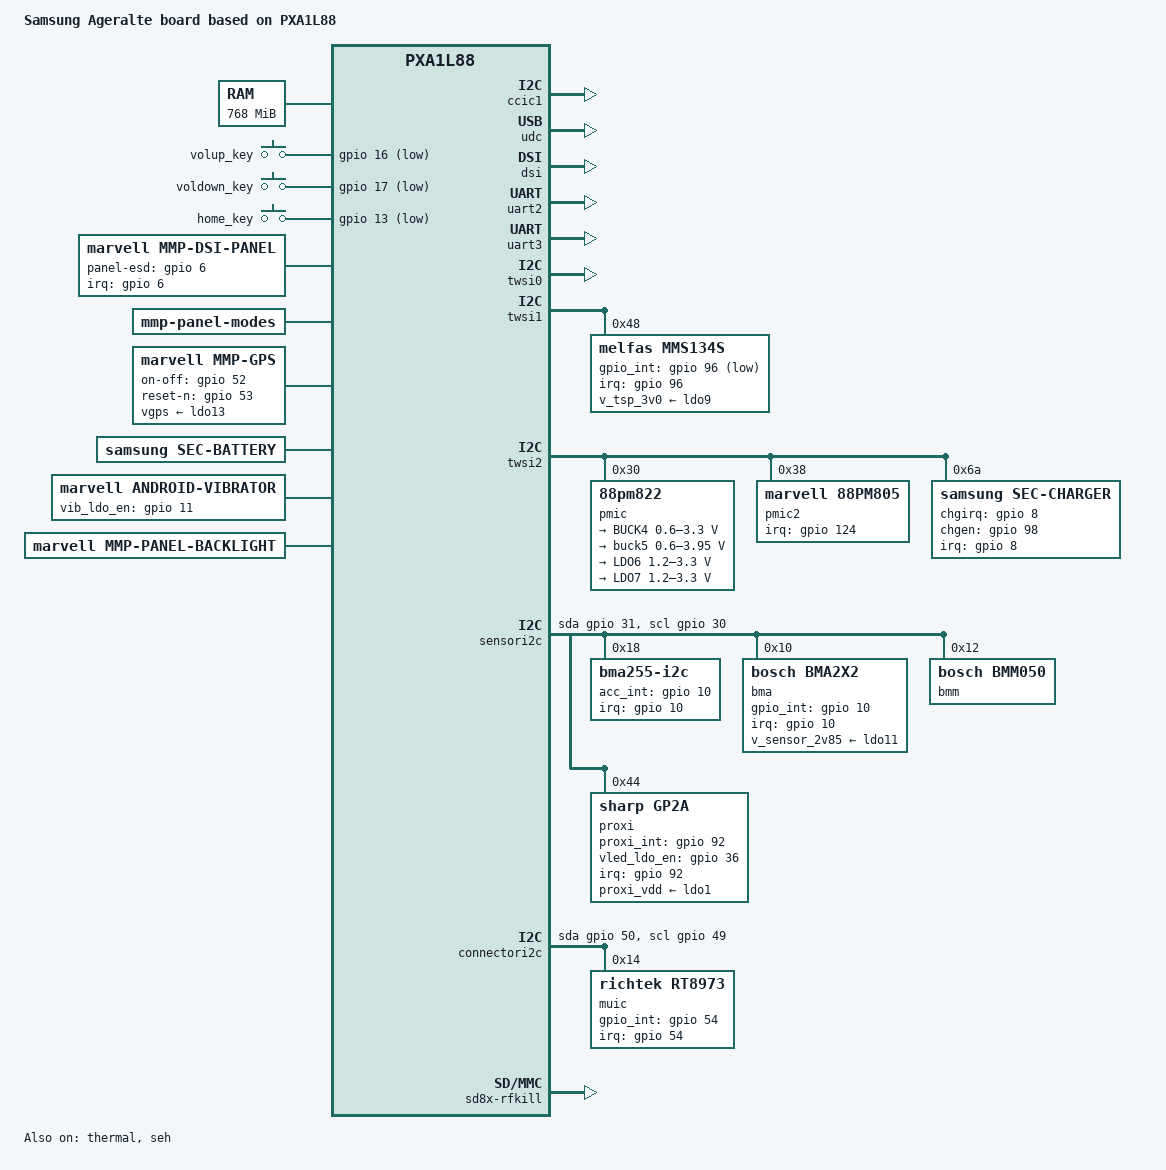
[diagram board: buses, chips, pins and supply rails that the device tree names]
/* arch/arm/boot/dts/pxall88-ageralte-r03.dts
 * Copyright (C) 2014 Samsung Electronics Co, Ltd.
 *
 * Based on arch/arm/boot/dts/pxa1l88-moutailte-r02.dts
 * Author: Shankar Bandal <shankar.b@samsung.com>
 *
 * This software is licensed under the terms of the GNU General Public
 * License version 2, as published by the Free Software Foundation,
 * and may be copied, distributed, and modified under those terms.
 *
 * This program is distributed in the hope that it will be useful,
 * but WITHOUT ANY WARRANTY; without even the implied warranty of
 * MERCHANTABILITY or FITNESS FOR A PARTICULAR PURPOSE. See the
 * GNU General Public License for more details.
 */

/dts-v1/;
#include <dt-bindings/gpio/gpio.h>
#include <dt-bindings/interrupt-controller/irq.h>
#include <dt-bindings/mmc/pxa_sdhci.h>
#include <dt-bindings/linux/sizes.h>
#include <dt-bindings/video/mmp_disp.h>

#include "sec-machtypes.h"
#include "sec-pxa1x88-pinfunc.h"
#include "pxa1088.dtsi"

/ {
	model = "Samsung Ageralte board based on PXA1L88";
	compatible = "mrvl,pxa1L88-sec", "mrvl,pxa1L88";
	pxa,rev-id = <MACH_TYPE_AGERALTE 3>;

	aliases {
		i2c5 = &sensori2c;
		i2c7 = &connectori2c;
	};

	memory {
		/* Memory Banks
		 * Bank 1 : Base 0x00000000
		 *	    Size 512 MB
		 * Bank 2 : Base 0x20000000
		 *	    Size 256 MB
		 */
		reg = <0x00000000 0x20000000 0x20000000 0x10000000>;
	};

	reserved_memory {

		obm {
			compatible = "marvell,obm-heap";
			obm-base-default = <0x00000000>;
			obm-base-with-tz = <0x01000000>;
			obm-base-with-crash-dump = <0x06000000>;
			obm-size = <(SZ_1M)>;
			status = "okay";
		};

		cp {
			compatible = "marvell,cp-heap";
			cp-base = <0x05000000>;
			cp-size = <(48 * SZ_1M)>;
			status = "okay";
		};

		/* ramoops buffer (256KB) */
		ramoops {
			compatible = "marvell,ramoops-heap";
			ramoops-base = <0x08100000>;
			ramoops-size = <(256 * SZ_1K)>;
			status = "okay";
		};

		gpu {
			compatible = "marvell,gpu-heap";
			gpu-size = <(32 * SZ_1M)>;
			status = "okay";
		};

		ion {
			compatible = "marvell,ion-heap";
			ion-base = <0x09000000>;
			ion-size = <(16 * SZ_1M)>;
			status = "okay";
		};

		cma {
			compatible = "linux,cma-heap";
			size = <(80 * SZ_1M)>;
			status = "okay";
		};
	};

	gpio-keys {
		compatible = "gpio-keys";
		pinctrl-names = "default", "sleep";
		pinctrl-0 = <&volumekeys_gpio_pmx &homekey_gpio_pmx>;
		pinctrl-1 = <&gpio_keypad_func1>;
		status = "okay";

		volume-up {
			label = "volup_key";
			gpios = <&gpio 16 GPIO_ACTIVE_LOW>;
			linux,code = <115>;	/* KEY_VOLUMEUP */
			debounce-interval = <30>;
		};

		volume-down {
			label = "voldown_key";
			gpios = <&gpio 17 GPIO_ACTIVE_LOW>;
			linux,code = <114>;	/* KEY_VOLUMEUP */
			debounce-interval = <30>;
		};

		home-key {
			label = "home_key";
			gpios = <&gpio 13 GPIO_ACTIVE_LOW>;
			linux,code = <102>;	/* KEY_HOME */
			debounce-interval = <30>;
			gpio-key,wakeup;
		};
	};

	soc {
		ddr@c0100000 {  /* DDR memory controller */
			status = "okay";
		};

		axi@d4200000 {	/* AXI */
			coda7542: coda7542@d420d000 {
				marvell,sram-internal = <1>;
				marvell,nv21_support = <1>;
				status = "okay";
			};
			ccic1: ccic@d420a000 {
				cam_core-supply = <&buck5>;
				cam_avdd = <&gpio 72 0>;
				cam_io = <&gpio 73 0>;
				cam_af = <&gpio 19 0>;
				cam_stby = <&gpio 14 0>;
				cam_rst = <&gpio 15 0>;
			       pinctrl-names = "default","enable";
				pinctrl-0 = <&cam_pmx_func1 &cam_pmx_func2 &cam_pmx_gpio>;
				pinctrl-1 = <&cam_pmx_func1 &cam_pmx_func2 &cam_pmx_func3>;
			       mclk-gpio = <&gpio 77 0>;
				status = "okay";
			};
			usbphy: usbphy@d4207000 {
				status = "okay";
			};

			udc: udc@d4208100 {
				status = "okay";
			};

			dsi: dsi@d420b800 {
				marvell,phy-name = "mmp_dsi1";
				marvell,plat-path-name = "mmp_pnpath";
				marvell,dsi-lanes = <2>;
				marvell,burst-mode = <2>;
				marvell,hbp-en;
				marvell,hfp-en;
				status = "okay";
			};

			disp: disp@d420b000 {
				marvell,disp-name = "disp_name";
				marvell,path-num = <1>;
				status = "okay";
				path1 {
					marvell,path-name = "mmp_pnpath";
					marvell,overlay-num = <1>;
					marvell,overlay-table = <PN_GRA>;
					marvell,output-type = <1>;
					marvell,path-config = <0x10>;
					marvell,link-config = <0x1>;
					WVGA {
						disp1_clksrc = "pll1_416m";
						dsipll_clksrc = "pll3";
						pn_sclk_clksrc = "disp1";
					};

				};
			};

			fb0: fbbase {
				marvell,fb-name = "mmp-fb";
				marvell,path-name = "mmp_pnpath";
				marvell,overlay-id = <PN_GRA>;
				marvell,default-pixfmt = <PIXFMT_RGBA888>;
				marvell,buffer-num = <3>;
				marvell,fb-mem = <0xb000000>;
				status = "okay";
			};

			/* eMMC */
			sdh3: sdh@d4281000 {
				pinctrl-names = "default";
				pinctrl-0 = <&sdh3_pmx_func1 &sdh3_pmx_func2>;
				bus-width = <8>;
				non-removable;
				marvell,sdh-pm-runtime-en;
				marvell,sdh-quirks = <(
						SDHCI_QUIRK_BROKEN_ADMA |
						SDHCI_QUIRK_BROKEN_CARD_DETECTION
						)>;
				marvell,sdh-quirks2 = <(SDHCI_QUIRK2_BUS_CLK_GATE_ENABLED)>;
				marvell,sdh-host-caps = <(MMC_CAP_1_8V_DDR)>;
				marvell,sdh-flags = <(
						PXA_FLAG_SD_8_BIT_CAPABLE_SLOT |
						PXA_FLAG_ENABLE_CLOCK_GATING |
						PXA_FLAG_TX_SEL_BUS_CLK
					      )>;
				/* prop "sdh-dtr-data": <timing preset_rate src_rate tx_delay rx_delay> */
				marvell,sdh-dtr-data = <PXA_MMC_TIMING_LEGACY PXA_SDH_DTR_26M PXA_SDH_DTR_104M 0 0>,
						<PXA_MMC_TIMING_MMC_HS PXA_SDH_DTR_52M PXA_SDH_DTR_104M 0 0>,
						<PXA_MMC_TIMING_UHS_DDR50 PXA_SDH_DTR_52M PXA_SDH_DTR_104M 0 0>,
						<PXA_MMC_TIMING_MAX PXA_SDH_DTR_PS_NONE PXA_SDH_DTR_104M 0 0>;
				status = "okay";
			};

			/* SD card */
			sdh1: sdh@d4280000 {
				pinctrl-names = "default";
				pinctrl-0 = <&sdh1_pmx_func1 &sdh1_pmx_func2 &sdh1_pmx_func3 &sdh1_pmx_func4 &sdh1_pmx_func5 &sdh1_pmx_func6>;
				vqmmc-supply	= <&ldo5>;
				vmmc-supply	= <&ldo4>;
				cd-gpios = <&gpio 90 0>;
				cd-inverted;
				bus-width = <4>;
				wp-inverted;
				marvell,sdh-pm-runtime-en;
				marvell,sdh-quirks = <(
						SDHCI_QUIRK_INVERTED_WRITE_PROTECT |
						SDHCI_QUIRK_BROKEN_CARD_DETECTION
						)>;
				marvell,sdh-quirks2 = <(SDHCI_QUIRK2_BUS_CLK_GATE_ENABLED)>;
				marvell,sdh-host-caps2 = <(MMC_CAP2_DETECT_ON_ERR)>;
				marvell,sdh-flags = <(
						PXA_FLAG_TX_SEL_BUS_CLK |
						PXA_FLAG_ENABLE_CLOCK_GATING
					      )>;
				/* prop "sdh-dtr-data": <timing preset_rate src_rate tx_delay rx_delay> */
				marvell,sdh-dtr-data = <PXA_MMC_TIMING_LEGACY PXA_SDH_DTR_26M PXA_SDH_DTR_104M 0 0>,
						<PXA_MMC_TIMING_SD_HS PXA_SDH_DTR_52M PXA_SDH_DTR_104M 0 0>,
						<PXA_MMC_TIMING_UHS_DDR50 PXA_SDH_DTR_52M PXA_SDH_DTR_104M 0 0>,
						<PXA_MMC_TIMING_MAX PXA_SDH_DTR_PS_NONE PXA_SDH_DTR_104M 0 0>;
				status = "okay";
			};

			/* SDIO */
			sdh2: sdh@d4280800 {
				pinctrl-names = "default", "fast", "sleep";
				pinctrl-0 = <&sdh2_pmx_func1 &sdh2_pmx_func3 &sdh2_pmx_func5>;
				pinctrl-1 = <&sdh2_pmx_func1_fast &sdh2_pmx_func2_fast &sdh2_pmx_func3 &sdh2_pmx_func5>;
				pinctrl-2 = <&sdh2_pmx_edge_wakeup>;
				bus-width = <4>;
				mrvl,clk-delay-cycles = <0x0>;
				marvell,sdh-quirks = <(
						SDHCI_QUIRK_BROKEN_CARD_DETECTION
						)>;
				marvell,sdh-quirks2 = <(
				        SDHCI_QUIRK2_BUS_CLK_GATE_ENABLED |
				        SDHCI_QUIRK2_SDIO_SW_CLK_GATE |
				        SDHCI_QUIRK2_HOLDSUSPEND_AFTER_REQUEST
				        )>;
				marvell,sdh-host-caps2 = <(MMC_CAP2_NO_VOLTAGE_SWITCH)>;
				marvell,sdh-flags = <(
						PXA_FLAG_WAKEUP_HOST |
						PXA_FLAG_ENABLE_CLOCK_GATING |
						PXA_FLAG_TX_SEL_BUS_CLK |
						PXA_FLAG_EN_PM_RUNTIME |
						PXA_FLAG_DISABLE_PROBE_CDSCAN
					    )>;
				marvell,sdh-pm-caps = <(
			            MMC_PM_KEEP_POWER
			            )>;
				/* prop "sdh-dtr-data": <timing preset_rate src_rate tx_delay rx_delay> */
				marvell,sdh-dtr-data = <PXA_MMC_TIMING_LEGACY PXA_SDH_DTR_26M PXA_SDH_DTR_104M 0 0>,
						<PXA_MMC_TIMING_SD_HS PXA_SDH_DTR_45M PXA_SDH_DTR_89M 0 0>,
						<PXA_MMC_TIMING_UHS_SDR104 PXA_SDH_DTR_208M PXA_SDH_DTR_208M 0 0>,
						<PXA_MMC_TIMING_MAX PXA_SDH_DTR_PS_NONE PXA_SDH_DTR_89M 0 0>;
				status = "okay";
			};

			squ: squ@d42a0800 {
				compatible = "marvell,pxa910-squ";
				reg = <0xd42a0800 0x100>;
				interrupts = <0 46 0x4>;
				#dma-cells = <1>;
				asram = <&sram>;
			};

			vpu-devfreq {
				status = "okay";
			};
			geu: geu {
				status = "okay";
			};
		};

		apb@d4000000 {
			pdma0: pdma@d4000000 {
				status = "okay";
			};

			uart2: uart@d4017000 {
				pinctrl-names = "default", "sleep";
				pinctrl-0 = <&uart2_pmx_func1 &uart2_pmx_func2>;
				pinctrl-1 = <&uart2_pmx_func1_sleep &uart2_pmx_func2>;
				edge-wakeup-gpio = <47>; /* GPIO47: UART rx pin */
				status = "okay";
			};

			uart3: uart@d4018000 {
				pinctrl-names = "default";
				pinctrl-0 = <&uart3_pmx_func>;
				status = "okay";
			};

			mfpr: mfpr@d401e000 {
				pinctrl-names = "default";
				reg = <0xd401e000 0x280>;
				// pinctrl-0 = <&mfp_pins_group_0 &mfp_pins_group_1 &mfp_pins_group_2 &mfp_pins_group_3 &mfp_pins_group_4 &mfp_pins_group_5 &mfp_pins_group_6 &mfp_pins_group_7>;
				pinctrl-0 = <&mfp_pins_group_0>;
				status = "ok";
			};

			edgewakeup: edgewakeup@d4019800 {
				status = "ok";
			};

			rtc: rtc@d4010000 {
				status = "okay";
			};

			thermal: thermal@d4013200 {
				compatible = "marvell,pxa-thermal";
				reg = <0xd4013200 0x50>;
				interrupts = <0 60 0x4>;
				trigger_levels_count = <4>;
				type = <2>;
				status = "ok";
			};

			watchdog: watchdog@d4080000 {
				status = "okay";
			};

			ssp_dai1: pxa-ssp-dai@1 {
				compatible = "mrvl,pxa-ssp-dai";
				reg = <0x1 0x0>;
				port = <&ssp1>;
				pinctrl-names = "default","ssp";
				pinctrl-0 = <&i2s_gpio>;
				pinctrl-1 = <&i2s_func>;
				ssp-gpio = <&gpio 21 0 &gpio 22 0 &gpio 23 0 &gpio 24 0>;
				dmas = <&squ 1
					&squ 0>;
				dma-names = "rx", "tx";
				asram = <&sram>;
				platform_driver_name = "tdma_platform";
				burst_size = <4>;
				playback_period_bytes = <4096>;
				playback_buffer_bytes = <20480>;
				capture_period_bytes = <4096>;
				capture_buffer_bytes = <20480>;
			};

			ssp_dai4: pxa-ssp-dai@4 {
				compatible = "mrvl,pxa-ssp-dai";
				reg = <0x4 0x0>;
				port = <&ssp4>;
				pinctrl-names = "default","ssp";
				pinctrl-0 = <&gssp_gpio>;
				pinctrl-1 = <&gssp_func>;
				ssp-gpio = <&gpio 25 0 &gpio 26 0 &gpio 27 0 &gpio 28 0>;
				dmas = <&pdma0 6 0
					&pdma0 7 0>;
				dma-names = "rx", "tx";
				platform_driver_name = "pdma_platform";
				burst_size = <8>;
				playback_period_bytes = <4096>;
				playback_buffer_bytes = <131072>;
				capture_period_bytes = <4096>;
				capture_buffer_bytes = <131072>;
			};

			gpio: gpio@d4019000 {
				status = "okay";
				/*
				 * In theorical, some gpios could be routed to
				 * multiple pins. So define the gpio-ranges in
				 * board file, not silicon file.
				 */
				gcb0: gpio@d4019000 {
					/* gpio offset, pin offset, nr pins */
					gpio-ranges = <&pmx 0 55 32>;
				};
				gcb1: gpio@d4019004 {
					gpio-ranges = <&pmx 0 87 23>;
				};
				gcb2: gpio@d4019008 {
					gpio-ranges = <&pmx 3 110 29>;
				};
				gcb3: gpio@d4019100 {
					gpio-ranges = <&pmx 0 139 3  &pmx 28 52 1>;
				};
			};

			pmx: pinmux@d401e000 {
				/* pin base, nr pins & gpio function */
				pinctrl-single,gpio-range = <
					/*
					 * GPIO number is hardcoded for range at here.
					 * In gpio chip, GPIO number is not hardcoded for range.
					 * Since one gpio pin may be routed to multiple pins,
					 * define these gpio range in pxa910-dkb.dts not pxa910.dtsi.
					 */
					&range 55 55 0	/* GPIO0 ~ GPIO54 */
					&range 110 32 0 /* GPIO67 ~ GPIO98 */
					&range 52 1 0	/* GPIO124 */
				>;
				cam_pmx_func1: cam_pmx_func1 {
					pinctrl-single,pins = <
						GPIO14 AF0
						GPIO15 AF0
					>;
					DS_MEDIUM;PULL_DOWN;EDGE_NONE;LPM_DRIVE_LOW;
				};
				cam_pmx_func2: cam_pmx_func2 {
					pinctrl-single,pins = <
						GPIO19 AF0
						GPIO72 AF0
						GPIO73 AF0
					>;
					DS_MEDIUM;PULL_DOWN;EDGE_NONE;LPM_DRIVE_LOW;
				};
				cam_pmx_func3: cam_pmx_func3 {
					pinctrl-single,pins = <
						GPIO77 AF1
					>;
					DS_MEDIUM;PULL_DOWN;EDGE_NONE;LPM_DRIVE_LOW;
				};

				cam_pmx_gpio: cam_pmx_gpio {
                                       pinctrl-single,pins = <
						GPIO77 AF0
                                       >;
					DS_MEDIUM;PULL_DOWN;EDGE_NONE;LPM_DRIVE_LOW;
				};

				hw_rev_mod_2_pmx: hw_rev_mod_2_pmx {
					pinctrl-single,pins = <
						GPIO32 AF0
					>;
					MFP_PULL_FLOAT;
				};

				hw_rev_mod_2: hw_rev_mod_2 {
					pinctrl-names = "default";
					pinctrl-0 = <&hw_rev_mod_2_pmx>;
				};
				/* MFP_LPM_FLOAT */
				mfp_pins_group_0: mfp_pins_group_0 {
					pinctrl-single,pins = <
						DF_IO8 AF1
						DF_IO9 AF1
						DF_IO10 AF1
						DF_IO11 AF1
						DF_IO12 AF1
						DF_IO13 AF1
						DF_IO14 AF1
						DF_IO15 AF1
						DF_WEn AF0
						DF_REn AF0
						DF_ALE_SM_WEn AF0
						DF_RDY0 AF1
						DF_RDY1 AF0
						DF_nCS0_SM_nCS2 AF1
						DF_nCS1_SM_nCS3 AF1
						SM_nCS1 AF1
						SM_nCS0 AF1
						GPIO20 AF0
						GPIO93 AF0
						GPIO95 AF0
						GPIO97 AF0
					>;
					PULL_UP;LPM_FLOAT;
				};

				/* MFP_PULL_LOW && MFP_LPM_PULL_FLOAT */
				mfp_pins_group_1: mfp_pins_group_1 {
					pinctrl-single,pins = <
						GPIO15 AF0
						GPIO72 AF0
					>;
					DS_MEDIUM;PULL_DOWN;EDGE_NONE;LPM_FLOAT;
				};

				/* MFP_PULL_LOW && LPM_OUTPUT_DRIVE_LOW */
				mfp_pins_group_2: mfp_pins_group_2 {
					pinctrl-single,pins = <
						GPIO18 AF0
					>;
					DS_MEDIUM;PULL_DOWN;EDGE_NONE;LPM_DRIVE_LOW;
				};

				/* MFP_PULL_LOW */
				mfp_pins_group_3: mfp_pins_group_3 {
					pinctrl-single,pins = <
						GPIO70 AF0
						GPIO36 AF0
						GPIO43 AF0
						GPIO44 AF0
						GPIO49 AF0
						GPIO50 AF0
						GPIO90 AF0
						GPIO92 AF0
						GPIO98 AF0
					>;
					MFP_PULL_DOWN;
				};

				/* MFP_PULL_HIGH */
				mfp_pins_group_4: mfp_pins_group_4 {
					pinctrl-single,pins = <
						SM_RDY_GPIO_3 AF1
						GPIO14 AF0
						GPIO91 AF0
					>;
					MFP_PULL_UP;
				};

				/* MFP_PULL_FLOAT */
				mfp_pins_group_5: mfp_pins_group_5 {
					pinctrl-single,pins = <
						GPIO4 AF0
						GPIO96 AF0
						GPIO67 AF0
						GPIO68 AF0
						GPIO69 AF0
						GPIO80 AF0
					>;
					MFP_PULL_FLOAT;
				};

				/* MFP_PULL_FLOAT && MFP_LPM_PULL_FLOAT */
				mfp_pins_group_6: mfp_pins_group_6 {
					pinctrl-single,pins = <
						GPIO32 AF0
						SM_ADVMUX AF1
						/* LED_R_CTRL */
						SM_BE1 AF0
						/* LED_G_CTRL */
						GPIO12 AF0
					>;
					DS_MEDIUM;PULL_FLOAT;EDGE_NONE;LPM_FLOAT;
				};

				/* MFP_DEFAULT */
				mfp_pins_group_7: mfp_pins_group_7 {
					pinctrl-single,pins = <
						GPIO124 AF0
						GPIO3 AF0
						GPIO5 AF0
						GPIO6 AF0
						GPIO11 AF0
						GPIO13 AF0
						GPIO19 AF0
						GPIO10 AF0
						GPIO29 AF0
						GPIO30 AF0
						GPIO31 AF0
						GPIO33 AF0
						GPIO34 AF0
						GPIO35 AF0
						GPIO51 AF1
						GPIO52 AF1
						GPIO73 AF0
						GPIO74 AF0
						GPIO76 AF0
						GPIO78 AF0
					>;
					MFP_DEFAULT;
				};

				/* MFP_PULL_LOW | MFP_LPM_FLOAT */
				sdh1_pmx_func1: sdh1_pmx_func1 {
					pinctrl-single,pins = <
						MMC1_DAT7 AF0
						MMC1_DAT6 AF0
						MMC1_DAT5 AF0
						MMC1_DAT4 AF0
						MMC1_WP AF0
					>;
					DS_MEDIUM;PULL_DOWN;EDGE_NONE;LPM_FLOAT;
				};

				/* no pull, no LPM */
				sdh1_pmx_func2: sdh1_pmx_func2 {
					pinctrl-single,pins = <
						MMC1_DAT3 AF0
						MMC1_DAT2 AF0
						MMC1_DAT1 AF0
						MMC1_DAT0 AF0
					>;
					MFP_DEFAULT;
				};

				/* MFP_LPM_DRIVE_LOW */
				sdh1_pmx_func3: sdh1_pmx_func3 {
					pinctrl-single,pins = <
						MMC1_CLK AF0
					>;
					MFP_LPM_DRIVE_LOW;
				};

				/* MFP_PULL_HIGH */
				sdh1_pmx_func4: sdh1_pmx_func4 {
					pinctrl-single,pins = <
						MMC1_CD AF0
					>;
					DS_MEDIUM;PULL_UP;EDGE_NONE;LPM_NONE;
				};

				/* MFP_PULL_UP */
				sdh1_pmx_func5: sdh1_pmx_func5 {
					pinctrl-single,pins = <
						MMC1_CMD AF0
					>;
					PULL_UP;LPM_FLOAT;
				};

				/* SD_DETECT */
				sdh1_pmx_func6: sdh1_pmx_func6 {
					pinctrl-single,pins = <
						GPIO90 AF0
					>;
					MFP_LPM_FLOAT;
				};

				sdh2_pmx_func1_fast: sdh2_pmx_func1_fast {
					pinctrl-single,pins = <
						GPIO37 AF1
						GPIO38 AF1
						GPIO39 AF1
						GPIO40 AF1
						GPIO41 AF1
					>;
					DS_FAST;PULL_NONE;EDGE_NONE;LPM_NONE;
				};

				sdh2_pmx_func2_fast: sdh2_pmx_func2_fast {
					pinctrl-single,pins = <
							GPIO42 AF1
					>;
						DS_FAST;PULL_NONE;EDGE_NONE;LPM_DRIVE_LOW;
				};

				sdh2_pmx_func1: sdh2_pmx_func1 {
					pinctrl-single,pins = <
						GPIO37 AF1
						GPIO38 AF1
						GPIO39 AF1
						GPIO40 AF1
						GPIO41 AF1
					>;
					MFP_DEFAULT;
				};
				/* WLAN_PDn */
				sdh2_pmx_func3: sdh2_pmx_func3 {
					pinctrl-single,pins = <
						GPIO51 AF0
					>;
					DS_MEDIUM;PULL_FLOAT;EDGE_NONE;
				};
				/* WLAN_SD_CLK */
				sdh2_pmx_func5: sdh2_pmx_func5 {
					pinctrl-single,pins = <
						GPIO42 AF1
					>;
					DS_MEDIUM;PULL_NONE;EDGE_NONE;LPM_DRIVE_LOW;
				};

				sdh2_pmx_edge_wakeup: sdh2_pmx_edge_wakeup {
						pinctrl-single,pins = <
							GPIO39 AF1
						>;
						DS_MEDIUM;PULL_LOW;EDGE_BOTH;LPM_NONE;
				};

				/* no pull, no LPM */
				sdh3_pmx_func1: sdh3_pmx_func1 {
					pinctrl-single,pins = <
						ND_IO7 AF1
						ND_IO6 AF1
						ND_IO5 AF1
						ND_IO4 AF1
						ND_IO3 AF1
						ND_IO2 AF1
						ND_IO1 AF1
						ND_IO0 AF1
						ND_CLE_SM_OEN AF1
						SM_BEN0 AF2
					>;
					MFP_PULL_UP;
				};

				/* MFP_LPM_DRIVE_LOW */
				sdh3_pmx_func2: sdh3_pmx_func2 {
					pinctrl-single,pins = <
						SM_SCLK AF1
					>;
					MFP_LPM_DRIVE_LOW;
				};

				lcd_pmx: lcd_pmx {
					pinctrl-single,pins = <
						GPIO18 AF0
						>;
					DS_MEDIUM;PULL_UP;EDGE_NONE;LPM_DRIVE_HIGH;
				};

				lcd_esd_pmx: lcd_esd_pmx {
					pinctrl-single,pins = <
						GPIO6 AF0
					>;
					DS_MEDIUM;PULL_NONE;EDGE_NONE;LPM_DRIVE_HIGH;
				};

				bl_pmx: bl_pmx {
					pinctrl-single,pins = <
						GPIO95 AF0
						>;
					DS_MEDIUM;PULL_DOWN;EDGE_NONE;LPM_DRIVE_LOW;
				};

				uart2_pmx_func1: uart2_pmx_func1 {
					pinctrl-single,pins = <
						GPIO47 AF6
					>;
					MFP_PULL_UP;
				};

				uart2_pmx_func2: uart2_pmx_func2 {
					pinctrl-single,pins = <
						GPIO48 AF6
					>;
					MFP_PULL_UP;
				};

				uart2_pmx_func1_sleep: uart2_pmx_func1_sleep {
					pinctrl-single,pins = <
						GPIO47 AF6
					>;
					DS_MEDIUM;PULL_UP;EDGE_BOTH;LPM_FLOAT;
				};

				uart3_pmx_func: uart3_pmx_func {
					pinctrl-single,pins = <
						GPIO45 AF1
						GPIO46 AF1
					>;
					MFP_DEFAULT;
				};

				twsi0_pmx_func: twsi0_pmx_func {
					pinctrl-single,pins = <
						GPIO79 AF1
						GPIO80 AF1
					>;
					MFP_LPM_FLOAT;
				};
				twsi0_pmx_gpio: twsi0_pmx_gpio {
					pinctrl-single,pins = <
						GPIO79 AF0
						GPIO80 AF0
					>;
					MFP_LPM_FLOAT;
				};
				twsi1_pmx_func: twsi1_pmx_func {
					pinctrl-single,pins = <
						GPIO87 AF5
						GPIO88 AF5
					>;
					MFP_DEFAULT;
				};
				twsi1_pmx_gpio: twsi1_pmx_gpio {
					pinctrl-single,pins = <
						GPIO87 AF0
						GPIO88 AF0
					>;
					MFP_LPM_FLOAT;
				};
				tsp_int_pmx: tsp_int_pmx {
					pinctrl-single,pins = <
						GPIO96 AF0
					>;
					MFP_DEFAULT;
				};

				volumekeys_gpio_pmx: volumekeys_gpio_pmx {
					pinctrl-single,pins = <
						GPIO16 AF0		/* VOL UP */
						GPIO17 AF0		/* VOL DOWN */
					>;
					MFP_PULL_UP;
				};

				homekey_gpio_pmx: homekey_gpio_pmx {
					pinctrl-single,pins = <
						GPIO13 AF0		/* HOME */
					>;
					MFP_DEFAULT;
				};

				gpio_keypad_func1: gpio_keypad_func_wakeup { 
					pinctrl-single,pins = <
						GPIO13 AF0
					>;
					DS_MEDIUM;PULL_UP;EDGE_FALL; 
				};

				sensors_i2c_pmx: sensors_i2c_pmx {
					pinctrl-single,pins = <
						GPIO31 AF0
						GPIO30 AF0
					>;
					DS_MEDIUM;PULL_NONE;EDGE_NONE;LPM_FLOAT;
				};

				accel_gpio_pmx: accel_gpio_pmx {
					pinctrl-single,pins = <
						GPIO10 AF0
					>;
					DS_MEDIUM;PULL_DOWN;EDGE_NONE;LPM_FLOAT;
				};

				accel_suspend_pmx: accel_suspend_pmx {
                                        pinctrl-single,pins = <
                                                GPIO10 AF0
                                        >;
                                        DS_MEDIUM;PULL_DOWN;EDGE_BOTH;LPM_FLOAT;
                                };

				gpio_charger_func1: gpio_charger__func1 {
					pinctrl-single,pins = <
						GPIO8 AF0
						>;
					MFP_PULL_UP;
				};

				gpio_charger_func2: gpio_charger_func2 {
					pinctrl-single,pins = <
						GPIO98 AF0
					>;
					DS_MEDIUM;PULL_FLOAT;EDGE_NONE;LPM_FLOAT;
				};

				proxi_gpio_pmx: proxi_gpio_pmx {
					pinctrl-single,pins = <
						GPIO92 AF0
					>;
					DS_MEDIUM;PULL_NONE;EDGE_NONE;LPM_FLOAT;
				};

				vled_gpio_pmx: vled_gpio_pmx {
					pinctrl-single,pins = <
						GPIO36 AF0
					>;
					MFP_PULL_FLOAT;
				};

				vib_gpio_pmx: vib_gpio_pmx {
					pinctrl-single,pins = <
						GPIO11 AF0
					>;
					MFP_DEFAULT;
				};

				i2s_func: i2s_func {
					pinctrl-single,pins = <
						GPIO21 AF1
						GPIO22 AF1
						GPIO23 AF1
						GPIO24 AF1
					>;
					MFP_DEFAULT;
				};

				i2s_gpio: i2s_gpio {
					pinctrl-single,pins = <
						GPIO21 AF0
						GPIO22 AF0
						GPIO23 AF0
						GPIO24 AF0
					>;
					MFP_DEFAULT;
				};

				/* no pull, no LPM */
				dvc_pmx_func: dvc_pmx_func {
					pinctrl-single,pins = <
						GPIO43 AF6
						GPIO44 AF6
					>;
					MFP_DEFAULT;
				};

				connector_i2c_pmx: connector_i2c_pmx {
					pinctrl-single,pins = <
						GPIO50 AF0
						GPIO49 AF0
					>;
					DS_MEDIUM;PULL_NONE;EDGE_NONE;LPM_FLOAT;
				};
				muic_int_pmx: muic_int_pmx {
					pinctrl-single,pins = <
						GPIO54 AF0
					>;
					MFP_DEFAULT;
				};

				gps_pmx_eclk: gps_pmx_eclk {
					/* eclk */
					pinctrl-single,pins = <
						GPIO89 AF5
					>;
					MFP_DEFAULT;
				};
				gps_pmx_gpio: gps_pmx_gpio {
					/* gpio */
					pinctrl-single,pins = <
						GPIO89 AF0
					>;
					MFP_DEFAULT;
				};

				gps_pmx_poweronoff: gps_pmx_poweronoff {
					pinctrl-single,pins = <
						GPIO52 AF0
					>;
					MFP_PULL_DOWN;MFP_LPM_DIRVE_LOW;
				};
				gps_pmx_reset: gps_pmx_reset {
					pinctrl-single,pins = <
						GPIO53 AF0
					>;
					MFP_PULL_UP;MFP_LPM_DIRVE_HIGH;
				};

				muic_remove_pmx: muic_remove_pmx {
					pinctrl-single,pins = <
						GPIO54 AF0
					>;
					DS_MEDIUM;PULL_UP;EDGE_BOTH;LPM_FLOAT;
				};


				gssp_func: gssp_func {
					pinctrl-single,pins = <
						GPIO25 AF1
						GPIO26 AF1
						GPIO27 AF1
						GPIO28 AF1
					>;
					MFP_DEFAULT;
				};

				gssp_gpio: gssp_gpio {
					pinctrl-single,pins = <
						GPIO25 AF0
						GPIO26 AF0
						GPIO27 AF0
						GPIO28 AF0
					>;
					MFP_DEFAULT;
				};

				codec_int: codec_int_gpio {
					pinctrl-single,pins = <
						GPIO124 AF0
					>;
					PULL_UP;
				};

				gdet_gpio: gdet_gpio {
					pinctrl-single,pins = <
						GPIO12 AF0
					>;
					MFP_PULL_FLOAT;LPM_PULL_FLOAT;
				};
			};

			twsi0: i2c@d4011000 {
				pinctrl-names = "default","gpio";
				pinctrl-0 = <&twsi0_pmx_func>;
				pinctrl-1 = <&twsi0_pmx_gpio>;
				i2c-gpio = <&gpio 79 0 &gpio 80 0>;
				marvell,i2c-always-on;
				status = "okay";

			};

			twsi1: i2c@d4010800 {
				pinctrl-names = "default","gpio";
				pinctrl-0 = <&twsi1_pmx_func>;
				pinctrl-1 = <&twsi1_pmx_gpio>;
				i2c-gpio = <&gpio 87 0 &gpio 88 0>;
				status = "okay";

				MMS134S@48 {
					compatible = "melfas,mms134s";
					reg = <0x48>;

					melfas,max_x = <479>;
					melfas,max_y = <799>;
					melfas,irqflags = <IRQF_ONESHOT>;
					melfas,vdd_regulator_volt = <3000000>;
					melfas,gpio_int = <&gpio 96 GPIO_ACTIVE_LOW>;
					melfas,inkernel_fw_name = "melfas/G3568V_ME_02.fw";

					pinctrl-names = "default";
					pinctrl-0 = <&tsp_int_pmx>;
					interrupt-parent = <&gpio>;
					interrupts = <96 IRQ_TYPE_EDGE_FALLING>;
					v_tsp_3v0-supply = <&ldo9>;
				};
			};

			twsi2: i2c@d4037000 {
				status = "okay";

				pmic: 88pm822@30 {
					reg = <0x30>;
					interrupts = <0 4 0x4>;
					interrupt-parent = <&gic>;
					dvc {
						compatible = "marvell,88pm8xx-dvc";
						/* pm822 dvc affect buck1/3/5, affected 32bit = (1 << 4) | (1 << 2) | (1 << 0)*/
						dvc-affected-buckbits = <21>;
						pinctrl-names = "default";
						pinctrl-0 = <&dvc_pmx_func>;
					};
					usb: usb {
						compatible = "marvell,88pm80x-usb";
						vbus-gpio = <0xff>;
						id-gpadc = <0xff>;
					};

				};
				pmic2: 88pm805@38 {
					compatible = "marvell,88pm805";
					reg = <0x38>;
					interrupt-parent = <&gpio>;
					interrupts = <124 0x1>;
					marvell,88pm805-irq-write-clear;
					pinctrl-names = "default";
					pinctrl-0 = <&codec_int>;						
				};
				sec-charger@6A {
					compatible = "samsung,sec-charger";
					pinctrl-names = "default";
					pinctrl-0 = <&gpio_charger_func1 &gpio_charger_func2>;
					reg = <0x6A>;
					interrupt-parent = <&gpio>;
					interrupts = <8 0x3>;
					chgirq-gpio = <&gpio 8 0>;
					chgen-gpio = <&gpio 98 0>;
					chg-irq-attr = <IRQ_TYPE_EDGE_BOTH>;
					chg-float-voltage = <4350>;
				};
			};

			acipc: acipc@d401d000 {
				status = "okay";
			};

			seh: seh@d4080000 {
				compatible = "mrvl,seh";
				reg = <0xd4080000 0x100>;
				interrupts = <0 32 0x4>;
				interrupt-names = "CP_TIMER2_3";
				watchdog-type = <1>; /* soc timer */
				timer-num = <2>; /* timer num */
				match-num = <0>; /* match num */
				status = "okay";
			};
		};
		soc-camera@0 {
			 status = "okay";
		};
		sound {
			compatible = "marvell,pxa-88pm805-snd-card";
			ssp-controllers = <&ssp_dai1 &ssp_dai4>;
		};

		/*
		 * ramoops:
		 * 256 KB memory starts at 0x8100000
		 * pstore dump: 2 chunks, totall 64 KB, 32 KB each
		 * console size: 192 KB
		 * no dump_oops
		 */
		ramoops {
			compatible = "pstore,ramoops";
			mem-size = <0x40000>;
			mem-address = <0x8100000>;
			record-size = <0x8000>;
			console-size = <0x30000>;
			dump-oops = <0>;
			status = "okay";
		};
		sec-log {
			compatible = "sec-log";
			status = "okay";
		};
	};

	sensori2c: i2c-gpio@5 {
		compatible = "i2c-gpio";
		gpios = <&gpio 31 0
			 &gpio 30 0>;

		i2c-gpio,delay-us = <3>;
		i2c-gpio,timeout-ms = <100>;

		#address-cells = <1>;
		#size-cells = <0>;
		pinctrl-names = "default";
		pinctrl-0 = <&sensors_i2c_pmx>;

		status = "okay";

		bma255-i2c@18 {
			compatible = "bma255-i2c";
			pinctrl-names = "default","sleep";
			pinctrl-0 = <&accel_gpio_pmx>;
			pinctrl-1 = <&accel_suspend_pmx>;
			reg = <0x18>;
			interrupt-parent = <&gpio>;
			interrupts = <10 IRQ_TYPE_EDGE_RISING>;
			acc_int = <&gpio 10 0x00>;
			acc_chip_pos = <2>;
		};

		bma@10 {
			compatible = "bosch,bma2x2";
			reg = <0x10>;

			pinctrl-names = "default","sleep";
			pinctrl-0 = <&accel_gpio_pmx>;
			pinctrl-1 = <&accel_suspend_pmx>;

			bma2x2,gpio_int = <&gpio 10 GPIO_ACTIVE_HIGH>;
			interrupt-parent = <&gpio>;
			interrupts = <10 IRQ_TYPE_EDGE_RISING>;

			bma2x2,supply_type = <1>;
			v_sensor_2v85-supply = <&ldo11>;
			bma2x2,vdd_regulator_volt = <2850000>;

			bma2x2,accel_place = <6>;
		};

		bmm@12 {
			compatible = "bosch,bmm050";
			reg = <0x12>;

			bmm050,magnetic_place = <6>;
		};

		proxi@44 {
                        compatible = "sharp,gp2a";
                        reg = <0x44>;

                        pinctrl-names = "default";
                        pinctrl-0 = <&proxi_gpio_pmx &vled_gpio_pmx>;

                        interrupt-parent = <&gpio>;
                        interrupts = <92 IRQ_TYPE_EDGE_FALLING>;
                        proxi_int_gpio = <&gpio 92 GPIO_ACTIVE_HIGH>;

			gp2a,vdd_supply_type = <1>;
			gp2a,vdd_regulator_volt = <3100000>;
			proxi_vdd-supply = <&ldo1>;

			gp2a,vled_supply_type = <0>;
                        gp2a,vled_ldo_en = <&gpio 36 GPIO_ACTIVE_HIGH>;
                };
	};

	connectori2c: i2c@7 {

		compatible = "i2c-gpio";
		gpios = <&gpio 50 0
			 &gpio 49 0>;

		i2c-gpio,sda-open-drain;
		i2c-gpio,scl-open-drain;
		i2c-gpio,delay-us = <3>;
		i2c-gpio,timeout-ms = <100>;

		#address-cells = <1>;
		#size-cells = <0>;
		pinctrl-names = "default";
		pinctrl-0 = <&connector_i2c_pmx>;

		status = "okay";

		muic: muic@14 {
			compatible = "richtek,rt8973";
			pinctrl-names = "default","remove";
			pinctrl-0 = <&muic_int_pmx>;
			pinctrl-1 = <&muic_remove_pmx>;
			reg = <0x14>;
                        interrupt-parent = <&gpio>;
			interrupts = <54 0x1>;
			richtek,gpio_int = <&gpio 54 0>;
			irq-gpio = <&gpio 54 0>;
		};
	};

	ion {
		marvell,ion-nr = <2>;
		status = "okay";
		heap1 {
			marvell,ion-name = "carveout_heap";
			marvell,ion-type = <2>;
			marvell,ion-id = <2>;
		};

		heap2 {
			marvell,ion-name = "system_heap";
			marvell,ion-type = <0>;
			marvell,ion-id = <0>;
		};
	};

	panel {
		compatible = "marvell,mmp-dsi-panel";
		pinctrl-names = "default";
		pinctrl-0 = <&lcd_pmx &lcd_esd_pmx>;
		marvell,path-name = "mmp_pnpath";
		marvell,dsi-panel = <&mmp_dsi_panel>;
		interrupt-parent = <&gpio>;
		interrupts = <6 IRQ_TYPE_EDGE_RISING>;
		marvell,panel-esd-en;
		marvell,panel-esd-gpio = <&gpio 6 GPIO_ACTIVE_HIGH>;
		marvell,panel-esd-type = <IRQ_TYPE_EDGE_RISING>;
		marvell,panel-backlight = <&backlight>;
		panel-ext-pin {
			/*
			 * Three properties are required
			 * to control pwr pin
			 * @node : panel-ext-pin node
			 * @on : <0> - off / <1> - on
			 * @usec : delay time of usec
			 */
			panel-ext-pin-on = <
				&panel_pwr_avdd  1 20000
				&panel_pwr_rst   1 10000
				&panel_pwr_rst   0 10000
				&panel_pwr_rst   1 120000
			>;
			panel-ext-pin-off = <
				&panel_pwr_avdd  0 1000
			>;
			/*
			 * There are four properties to define pwr pin
			 * <prefix>-name : pin name
			 * <prefix>-type : <0> - GPIO, <1> - PMIC Regulator
			 * <prefix>-gpio : If the type is GPIO, assign a gpio.
			 * <prefix>-supply : If the type is PMIC Regulator, assign a regulator.
			 */
			panel_pwr_rst: panel-pwr-rst {
				panel-ext-pin-name = "rst";
				panel-ext-pin-type = <EXT_PIN_GPIO>;
				panel-ext-pin-gpio = <&gpio 18 GPIO_ACTIVE_LOW>;
			};
			panel_pwr_avdd: panel-pwr-avdd {
				panel-ext-pin-name = "avdd";
				panel-ext-pin-type = <EXT_PIN_REGULATOR>;
				panel-ext-pin-supply = <&ldo1>;
				panel-ext-pin-gpio;
			};
		};
		mmp_dsi_panel: mmp-dsi-panel {};
	};

	panel-modes {
		/*
		 * xres and yres are added for calculating
		 * framebuffer size.
		 * If this node is not added, it will take default
		 * size defined in drivers/video/mmp/setup.c
		 */
		compatible = "mmp-panel-modes";
		xres = <480>;
		yres = <800>;
	};
/*	
	sd8xxx-wlan {
		drv_mode = <0x5>;
		cfg80211_wext = <0xc>;
		sta_name = "wlan";
		wfd_name = "p2p";
		max_vir_bss = <1>;
		drvdbg = <0x80007>;
		init_cfg = "mrvl/wifi_init_cfg.conf";
		reg_alpha2 = "US";
		p2p_enh = <1>;
	};

	sd8xxx-bt {
		init_cfg = "mrvl/bt_init_cfg.conf";
	};
*/	
	gps: mmp-gps {
		compatible = "marvell,mmp-gps";
		marvell,gps-eclk-ctrl;

		vgps-supply = <&ldo13>;

		pinctrl-names = "default", "idle";
		pinctrl-0 = <&gps_pmx_eclk &gps_pmx_poweronoff &gps_pmx_reset>;
		pinctrl-1 = <&gps_pmx_gpio>;

		on-off-gpio = <&gpio 52 0>;
		reset-n-gpio = <&gpio 53 0>;
	};

	sd8x-rfkill {
		sd-host = <&sdh2>;
		pd-gpio = <&gpio 51 0>;
		rst-gpio = <&gpio 0 0>;
		edge-wakeup-gpio = <&gpio 39 0>;
		v_wib_3v3-supply=<&ldo10>;
		status = "okay";
	};

	battery {
		status = "okay";
		compatible = "samsung,sec-battery";

		vendor = "SDI SDI";
		charger_name = "sec-charger";
		fuelgauge_name = "sec-fuelgauge";
		technology = <2>; /* POWER_SUPPLY_TECHNOLOGY_LION */

		chip_vendor = "LSI";

		polling_time = <2 2 10 10 300>;

		temp_table_adc = <276 326 383 455 530 629 740 787 866 1013
			1181 1361 1564 1792 2024 2263 2493 2728 2948 3011
			3135 3208 3313 3465 3588 3698 3779>;
		temp_table_data = <900 850 800 750 700 650 600 580 550 500
			450 400 350 300 250 200 150 100 50 30
			0 (-20) (-50) (-100) (-150) (-200) (-250)>;

		input_current_limit = <0 0 0 750 550 550 550 550 550 0 550 750>;
		fast_charging_current = <0 0 0 750 500 500 500 500 500 0 500 750>;
		full_check_current_1st = <0 0 0 200 150 150 150 150 150 0 150 150>;
		full_check_current_2nd = <0 0 0 2400 1800 1800 1800 1800 1800 0 1800 1800>;

		adc_check_count = <5>;

		cable_check_type = <8>; /* SEC_BATTERY_CABLE_CHECK_INT */
		cable_source_type = <1>; /* SEC_BATTERY_CABLE_SOURCE_EXTERNAL */
		event_waiting_time = <60>;
		polling_type = <1>; /* SEC_BATTERY_MONITOR_ALARM */
		monitor_initial_count = <3>;

		battery_check_type = <4>; /* SEC_BATTERY_CHECK_FUELGAUGE */
		check_count = <1>;
		check_adc_max = <600>;
		check_adc_min = <50>;

		ovp_uvlo_check_type = <3>; /* SEC_BATTERY_OVP_UVLO_CHGPOLLING */

		thermal_source = <0>; /* SEC_BATTERY_THERMAL_SOURCE_FG */

		temp_check_type = <2>; /* _BATTERY_TEMP_CHECK_TEMP */
		temp_check_count = <1>;
		temp_high_threshold_event = <1000>;
		temp_high_recovery_event = <400>;
		temp_low_threshold_event = <(-50)>;
		temp_low_recovery_event = <0>;
		temp_high_threshold_normal = <1000>;
		temp_high_recovery_normal = <400>;
		temp_low_threshold_normal = <(-50)>;
		temp_low_recovery_normal = <0>;
		temp_high_threshold_lpm = <1000>;
		temp_high_recovery_lpm = <400>;
		temp_low_threshold_lpm = <(-50)>;
		temp_low_recovery_lpm = <0>;
		full_check_type = <6>; /* SEC_BATTERY_FULLCHARGED_CHGINT */
		full_check_type_2nd = <3>; /* SEC_BATTERY_FULLCHARGED_TIME */
		full_check_count = <1>;
		chg_gpio_full_check = <0>;
		chg_polarity_full_check = <1>;

		/* SEC_BATTERY_FULL_CONDITION_SOC |
		   SEC_BATTERY_FULL_CONDITION_NOTIMEFULL */
		full_condition_type = <5>;
		full_condition_soc = <95>;
		full_condition_vcell = <4300>;

		recharge_check_count = <2>;
		recharge_condition_type = <2>; /* SEC_BATTERY_RECHARGE_CONDITION_AVGVCELL */
		recharge_condition_soc = <98>;
		recharge_condition_avgvcell = <4290>;
		recharge_condition_vcell = <4290>;

		charging_total_time = <21600>;
		recharging_total_time = <5400>;
		charging_reset_time = <600>;
	};

	sec-fuelgauge {
		capacity-max = <1000>;
		capacity-max-margin = <30>;
		capacity-min = <0>;
		fg-irq-attr = <IRQ_TYPE_EDGE_FALLING>;
		fuel-alert-soc = <1>;
		temp_adc_channel = <2>; /* PM822_GPADC2 */
	};

	vibrator: vibrator {
	compatible = "marvell,android-vibrator";
	pinctrl-names = "default";
	pinctrl-0 = <&vib_gpio_pmx>;
	android_vibrator,vib_ldo_en = <&gpio 11 GPIO_ACTIVE_HIGH>;
	};
	
	backlight: mmp-panel-backlight {
		compatible = "marvell,mmp-panel-backlight";
		marvell,panel-backlight-name = "panel";
		marvell,panel-backlight-brt-range = <
			0	0	/* OFF */
			10	7	/* DIM */
			10	7	/* MIN */
			143	114	/* DEF */
			255	226	/* MAX */
		>;
	};

	sec-thermistor {
		compatible = "samsung,sec-thermistor";
		status = "okay";
		adc-channel = <1>;

		adc_array = <92 94 95 97 98 100 106 111 117 122 128 130 133 135 138 140 145 150 155 160 165
				  171 177 183 189 195 205 216 226 237 247 268 288 309 329 350 360 370 380 390 400 410
				  420 430 440 450 470 490 510 530 550 570 590 610 630 650 672 693 715 736 758 766 775
				  783 792 800 826 852 877 903 929>;

		temp_array = <600 590 580 570 560 550 540 530 520 510 500 490 480 470 460 450 440 430 420 410
				   400 390 380 370 360 350 340 330 320 310 300 290 280 270 260 250 240 230 220 210 200
				   190 180 170 160 150 140 130 120 110 100 90 80 70 60 50 40 30 20 10 0 (-10) (-20)
				   (-30) (-40) (-50) (-60) (-70) (-80) (-90) (-100)>;
	};
};
/include/ "88pm8xx.dtsi"
&pmic {
	regulators {
		BUCK4 {
			regulator-compatible = "88PM800-BUCK4";
			regulator-min-microvolt = <600000>;
			regulator-max-microvolt = <3300000>;
			regulator-boot-on;
			regulator-always-on;
		};
		buck5: BUCK5 {
			regulator-compatible = "88PM800-BUCK5";
			regulator-min-microvolt = <600000>;
			regulator-max-microvolt = <3950000>;
		};
		LDO6 {
			regulator-compatible = "88PM800-LDO6";
			regulator-min-microvolt = <1200000>;
			regulator-max-microvolt = <3300000>;
		};
		LDO7 {
			regulator-compatible = "88PM800-LDO7";
			regulator-min-microvolt = <1200000>;
			regulator-max-microvolt = <3300000>;
			regulator-boot-on;
			regulator-always-on;
		};
	};
	headset {
		compatible = "marvell,88pm80x-headset";
		marvell,switch-name = "h2w";
		marvell,headset-flag = <0>;
		marvell,hook-press-th = <127>;
		marvell,vol-up-press-th = <258>;
		marvell,vol-down-press-th = <604>;
		marvell,mic-det-th = <750>;
		marvell,press-release-th = <605>;
		marvell,micbias-supply = <&ldo14>;
		headset-gdet-gpio = <&gpio 12 0>;
	};
};
/include/ "mmp-dsi-panel-sc7798a-boe-wvga-video.dtsi"
/include/ "mmp-dsi-panel-sc7798a-dtc-wvga-video.dtsi"
/include/ "mmp-dsi-panel-sc7798a-cpt-wvga-video.dtsi"
